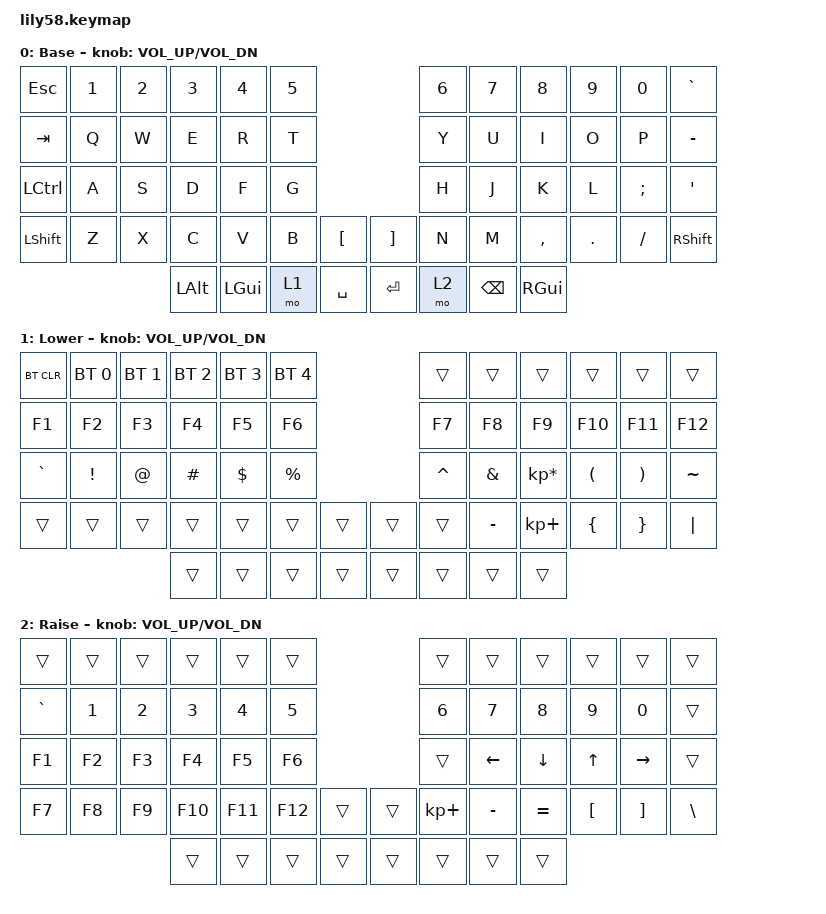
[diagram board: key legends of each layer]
/*
 * Copyright (c) 2020 The ZMK Contributors
 *
 * SPDX-License-Identifier: MIT
 */

#include <behaviors.dtsi>
#include <dt-bindings/zmk/keys.h>
#include <dt-bindings/zmk/bt.h>
#include <dt-bindings/zmk/ext_power.h>

/ {

    chosen {
        zmk,display = &nice_view; 
    };

    // adding the moth
    widget_image_moth: widget_image_moth {
        compatible = "zmk,widget-image";
        width = <128>;
        height = <64>;
        data = [
            f5 f5 f5 ff 04 04 04 ff
            ff ff ff c0 00 00 00 00 00 00 00 00 03 ff ff ff
            ff ff ff c0 00 00 60 00 00 00 00 00 03 ff ff ff
            ff ff ff c0 00 00 60 00 00 00 00 00 03 ff ff ff
            ff ff ff c0 00 00 60 00 00 00 00 00 03 ff ff ff
            ff ff ff c0 00 00 60 00 00 00 00 00 03 ff ff ff
            ff ff ff c0 00 00 70 00 00 00 00 00 03 ff ff ff
            ff ff ff c0 00 00 70 00 00 00 00 00 03 ff ff ff
            ff ff ff c0 00 00 38 00 00 00 00 00 03 ff ff ff
            ff ff ff c0 00 00 38 00 00 00 00 00 03 ff ff ff
            ff ff ff c0 00 00 3c 00 00 00 00 00 03 ff ff ff
            ff ff ff c0 00 00 1e 00 00 00 00 00 03 ff ff ff
            ff ff ff c0 00 00 0f 00 00 00 00 00 03 ff ff ff
            ff ff ff c0 00 00 0f 80 00 00 00 08 03 ff ff ff
            ff ff ff c0 00 00 07 c0 00 00 00 08 03 ff ff ff
            ff ff ff c0 00 00 03 e0 00 00 00 18 03 ff ff ff
            ff ff ff c0 00 00 03 f0 00 00 00 18 03 ff ff ff
            ff ff ff c0 00 00 01 f8 00 00 00 30 03 ff ff ff
            ff ff ff c0 00 00 00 fc 00 a0 00 30 03 ff ff ff
            ff ff ff c0 00 00 00 fe 00 02 00 70 03 ff ff ff
            ff ff ff c0 00 00 00 7f 04 00 08 60 03 ff ff ff
            ff ff ff c0 00 00 00 3f 88 00 01 e0 03 ff ff ff
            ff ff ff c0 00 00 00 1f d0 00 01 c0 03 ff ff ff
            ff ff ff c0 00 00 00 0f e0 00 03 c0 03 ff ff ff
            ff ff ff c0 00 00 00 07 e0 00 0f 88 03 ff ff ff
            ff ff ff c0 00 00 00 03 f0 00 3f 10 03 ff ff ff
            ff ff ff c0 00 00 00 03 f8 00 7e 00 03 ff ff ff
            ff ff ff c0 00 00 00 01 f8 01 f8 00 03 ff ff ff
            ff ff ff c0 00 00 00 00 fc 03 f0 00 03 ff ff ff
            ff ff ff c0 00 00 00 00 3c 03 e0 00 03 ff ff ff
            ff ff ff f4 00 00 00 00 04 07 c0 00 03 ff ff ff
            ff ff ff c2 80 00 00 20 0c 07 80 00 03 ff ff ff
            ff ff ff c0 68 00 00 10 18 07 80 00 03 ff ff ff
            ff ff ff c0 16 00 00 00 18 01 00 00 03 ff ff ff
            ff ff ff c0 01 c0 00 01 f8 03 80 00 03 ff ff ff
            ff ff ff c0 00 1c 01 03 f8 07 c0 00 03 ff ff ff
            ff ff ff c0 00 03 40 07 b0 0f c0 00 03 ff ff ff
            ff ff ff c0 00 00 aa 0f 88 0f c0 00 03 ff ff ff
            ff ff ff c0 00 00 0c 1f c0 1f c0 00 03 ff ff ff
            ff ff ff c0 00 00 00 1f c8 1f e0 00 43 ff ff ff
            ff ff ff c0 00 00 04 2f e4 4f 80 00 03 ff ff ff
            ff ff ff c0 00 00 10 01 f5 0f 80 00 23 ff ff ff
            ff ff ff c0 00 00 00 40 3a 3f 00 00 03 ff ff ff
            ff ff ff c0 00 00 01 00 07 7e 00 00 03 ff ff ff
            ff ff ff c0 00 00 00 00 00 fe 00 00 03 ff ff ff
            ff ff ff c0 00 00 04 00 00 0c 00 00 03 ff ff ff
            ff ff ff c0 00 00 00 00 00 00 00 00 03 ff ff ff
            ff ff ff c0 00 00 b8 00 00 08 02 00 03 ff ff ff
            ff ff ff c0 00 00 a0 00 00 00 02 80 03 ff ff ff
            ff ff ff c0 00 01 60 00 00 00 00 70 03 ff ff ff
            ff ff ff c0 00 06 80 00 00 20 10 0d 43 ff ff ff
            ff ff ff c0 00 0b 00 00 00 62 40 02 c3 ff ff ff
            ff ff ff c0 00 02 00 00 00 04 00 00 3f ff ff ff
            ff ff ff c0 00 10 00 00 00 d0 00 00 03 ff ff ff
            ff ff ff c0 00 00 00 00 01 00 00 00 03 ff ff ff
            ff ff ff c0 00 00 00 00 01 40 00 00 03 ff ff ff
            ff ff ff c0 00 00 00 00 06 80 00 00 03 ff ff ff
            ff ff ff c0 00 00 00 00 03 00 00 00 03 ff ff ff
            ff ff ff c0 00 00 00 00 08 00 00 00 03 ff ff ff
            ff ff ff c0 00 00 00 00 02 00 00 00 03 ff ff ff
            ff ff ff c0 00 00 00 00 00 00 00 00 03 ff ff ff
            ff ff ff c0 00 00 00 00 00 00 00 00 03 ff ff ff
            ff ff ff c0 00 00 00 00 00 00 00 00 03 ff ff ff
            ff ff ff c0 00 00 00 00 00 00 00 00 03 ff ff ff
            ff ff ff c0 00 00 00 00 00 00 00 00 03 ff ff ff
            ff ff ff c0 00 00 00 00 00 00 00 00 03 ff ff ff
            ff ff ff c0 00 00 00 00 00 00 00 00 03 ff ff ff
        ];

    };

    widget_image_sp: widget_image_sp {
        compatible = "zmk,widget-image";
        width = <128>;
        height = <64>;

        data = [
            f7 f7 f7 ff 01 01 01 ff
            ff ff ff ff ff ff ff ff ff ff ff ff ff ff ff ff
            ff ff ff ff ff ff ff ff ff ff ff ff ff ff ff ff
            ff ff ff ff ff ff ff ff ff ff ff ff ff ff ff ff
            ff ff ff ff ff ff ff ff ff ff ff ff ff ff ff ff
            ff ff ff ff ff ff ff ff ff ff ff ff ff ff ff ff
            ff ff ff ff ff ff ff ff ff ff ff ff ff ff ff ff
            ff ff ff ff ff ff ff ff ff ff ff ff ff ff ff ff
            ff ff ff ff ff ff ff ff ff ff ff ff ff ff ff ff
            ff ff ff ff ff ff ff ff ff ff ff ff ff ff ff ff
            ff ff ff ff ff ff ff ff ff ff ff ff ff ff ff ff
            ff ff ff ff ff ff ff ff ff ff ff ff ff ff ff ff
            ff ff ff ff ff ff ff ff ff ff ff ff ff ff ff ff
            ff ff ff ff ff ff ff ff ff ff ff ff ff ff ff ff
            ff ff ff ff ff 9f ff ff ff ff ff ff ff ff ff ff
            ff ff ff ff ff 87 ff ff ff ff ff ff ff ff ff ff
            ff ff ff ff ff 81 ff ff ff ff ff ff ff ff ff ff
            ff ff ff ff ff 80 ff ff ff ff ff ff bf ff ff ff
            ff ff ff ff ff 80 3f ff ff ff ff fe 1f ff ff ff
            ff ff ff ff ff 80 0f ff ff ff ff f0 1f ff ff ff
            ff ff ff ff ff 80 07 ff ff ff ff c0 1f ff ff ff
            ff ff ff ff ff c0 01 ff ff ff fe 00 3f ff ff ff
            ff ff ff ff ff c0 00 ff ff ff f8 00 3f ff ff ff
            ff ff ff ff ff e0 00 7f ff ff e0 00 3f ff ff ff
            ff ff ff ff ff e0 00 3f ff ff 80 00 7f ff ff ff
            ff ff ff ff ff f0 00 1f f5 5e 00 00 7f ff ff ff
            ff ff ff ff ff f0 00 00 00 00 00 00 7f ff ff ff
            ff ff ff ff ff f8 00 00 00 00 00 00 ff ff ff ff
            ff ff ff ff ff fc 00 00 00 00 00 01 ff ff ff ff
            ff ff ff ff ff fe 00 00 00 00 00 01 ff ff ff ff
            ff ff ff ff ff ff 00 00 00 00 00 03 ff ff ff ff
            ff ff ff ff ff ff 80 00 00 00 00 07 ff ff ff ff
            ff ff ff ff ff ff a0 00 00 00 00 1f ff ff ff ff
            ff ff ff ff ff ff e0 00 00 00 01 3f ff ff ff ff
            ff ff ff ff ff ff c0 00 00 00 00 ff ff ff ff ff
            ff ff ff ff ff ff c0 00 00 00 00 7f ff ff ff ff
            ff ff ff ff ff ff 80 40 00 04 00 7f ff ff ff ff
            ff ff ff ff ff ff 80 a0 00 03 00 3f ff ff ff ff
            ff ff ff ff ff ff 01 30 00 09 80 3f ff ff ff ff
            ff ff ff ff ff ff 01 70 00 0b 80 3f ff ff ff ff
            ff ff ff ff ff ff 01 f0 00 0f 00 1f ff ff ff ff
            ff ff ff ff ff fe 00 e0 00 07 00 1f ff ff ff ff
            ff ff ff ff ff fe 00 00 00 00 00 1f ff ff ff ff
            ff ff ff ff ff fe 00 00 60 00 00 0f ff ff ff ff
            ff ff ff ff ff fe 00 00 70 00 00 0f ff ff ff ff
            ff ff ff ff ff fc 70 00 00 00 3c 0f ff ff ff ff
            ff ff ff ff ff fd fc 00 00 00 7f 0f ff ff ff ff
            ff ff ff ff ff fd fc 00 00 00 ff 07 ff ff ff ff
            ff ff ff ff ff fd fc 00 14 00 ff 07 ff ff ff ff
            ff ff ff ff ff fd fc 00 a2 00 7f 07 ff ff ff ff
            ff ff ff ff ff fc 70 00 01 00 7e 07 ff ff ff ff
            ff ff ff ff ff fc 00 01 00 00 18 03 ff ff ff ff
            ff ff ff ff ff fc 00 00 01 00 00 03 ff ff ff ff
            ff ff ff ff ff fe 00 00 80 00 00 03 ff ff ff ff
            ff ff ff ff ff fe 00 00 22 00 00 03 ff ff ff ff
            ff ff ff ff ff ff 00 00 08 00 00 01 ff ff ff ff
            ff ff ff ff ff ff 00 00 00 00 00 03 ff ff ff ff
            ff ff ff ff ff ff 80 00 00 00 00 01 ff ff ff ff
            ff ff ff ff ff ff 80 00 00 00 00 01 ff ff ff ff
            ff ff ff ff ff ff c0 00 00 00 00 01 ff ff ff ff
            ff ff ff ff ff ff c0 00 00 00 00 01 ff ff ff ff
            ff ff ff ff ff ff c0 00 00 00 00 01 ff ff ff ff
            ff ff ff ff ff ff 80 00 00 00 00 00 ff ff ff ff
            ff ff ff ff ff ff 80 00 00 00 00 01 ff ff ff ff
        ];
            };

    // Display Node Configurations 
    &nice_view {
        #if IS_ENABLED(CONFIG_ZMK_SPLIT_ROLE_CENTRAL)
        widgets = <
            &widget_battery_status
            &widget_output_status
            &widget_image_moth
            &widget_layer_status
        >;
        #elif IS_ENABLED(CONFIG_ZMK_SPLIT_ROLE_PERIPHERAL)
        widgets = <
            &widget_battery_status
            &widget_output_status
            &widget_image_sp
        >;
        #endif
    }

    keymap {
        compatible = "zmk,keymap";

        default_layer {
// ------------------------------------------------------------------------------------------------------------
// |  ESC  |  1  |  2  |  3   |  4   |  5   |                   |  6   |  7    |  8    |  9   |   0   |   `   |
// |  TAB  |  Q  |  W  |  E   |  R   |  T   |                   |  Y   |  U    |  I    |  O   |   P   |   -   |
// |  CTRL |  A  |  S  |  D   |  F   |  G   |                   |  H   |  J    |  K    |  L   |   ;   |   '   |
// | SHIFT |  Z  |  X  |  C   |  V   |  B   |   "["  |  |  "]"  |  N   |  M    |  ,    |  .   |   /   | SHIFT |
//                     | ALT  | GUI  | LOWER|  SPACE |  | ENTER | RAISE| BSPC  | GUI   |
            display-name = "Base";
            bindings = <
&kp ESC   &kp N1 &kp N2 &kp N3   &kp N4   &kp N5                     &kp N6 &kp N7   &kp N8    &kp N9  &kp N0   &kp GRAVE
&kp TAB   &kp Q  &kp W  &kp E    &kp R    &kp T                      &kp Y  &kp U    &kp I     &kp O   &kp P    &kp MINUS
&kp LCTRL &kp A  &kp S  &kp D    &kp F    &kp G                      &kp H  &kp J    &kp K     &kp L   &kp SEMI &kp SQT
&kp LSHFT &kp Z  &kp X  &kp C    &kp V    &kp B  &kp LBKT   &kp RBKT &kp N  &kp M    &kp COMMA &kp DOT &kp FSLH &kp RSHFT
                        &kp LALT &kp LGUI &mo 1  &kp SPACE  &kp RET  &mo 2  &kp BSPC &kp RGUI
            >;

            sensor-bindings = <&inc_dec_kp C_VOL_UP C_VOL_DN>;
        };

        lower_layer {
// ------------------------------------------------------------------------------------------------------------
// | BTCLR | BT1 | BT2 |  BT3 |  BT4 |  BT5 |                   |      |       |       |      |       |       |
// |  F1   |  F2 |  F3 |  F4  |  F5  |  F6  |                   |  F7  |  F8   |  F9   |  F10 |  F11  |  F12  |
// |   `   |  !  |  @  |  #   |  $   |  %   |                   |  ^   |  &    |  *    |  (   |   )   |   ~   |
// |       |     |     |      |      |      |        |  |       |      |  _    |  +    |  {   |   }   |  "|"  |
//                     |      |      |      |        |  |       |      |       |       |
            display-name = "Lower";
            bindings = <
&bt BT_CLR &bt BT_SEL 0     &bt BT_SEL 1      &bt BT_SEL 2      &bt BT_SEL 3 &bt BT_SEL 4                 &trans    &trans    &trans          &trans    &trans    &trans
&kp F1     &kp F2           &kp F3            &kp F4            &kp F5       &kp F6                       &kp F7    &kp F8    &kp F9          &kp F10   &kp F11   &kp F12
&kp GRAVE  &kp EXCL         &kp AT            &kp HASH          &kp DOLLAR   &kp PRCNT                    &kp CARET &kp AMPS  &kp KP_MULTIPLY &kp LPAR  &kp RPAR  &kp TILDE
&trans     &trans           &trans            &trans            &trans       &trans    &trans   &trans    &trans    &kp MINUS &kp KP_PLUS     &kp LBRC  &kp RBRC  &kp PIPE
                                              &trans            &trans       &trans    &trans   &trans    &trans    &trans    &trans
            >;

            sensor-bindings = <&inc_dec_kp C_VOL_UP C_VOL_DN>;
        };

        raise_layer {
// ------------------------------------------------------------------------------------------------------------
// |       |     |     |      |      |      |                   |      |       |       |      |       |       |
// |   `   |  1  |  2  |  3   |  4   |  5   |                   |  6   |   7   |   8   |  9   |   0   |       |
// |   F1  |  F2 |  F3 |  F4  |  F5  |  F6  |                   |      |   <-  |   v   |  ^   |  ->   |       |
// |   F7  |  F8 |  F9 |  F10 |  F11 |  F12 |        |  |       |  +   |   -   |   =   |  [   |   ]   |   \   |
//                     |      |      |      |        |  |       |      |       |       |
            display-name = "Raise";
            bindings = <
&trans    &trans &trans &trans  &trans  &trans                       &trans      &trans    &trans    &trans   &trans    &trans
&kp GRAVE &kp N1 &kp N2 &kp N3  &kp N4  &kp N5                       &kp N6      &kp N7    &kp N8    &kp N9   &kp N0    &trans
&kp F1    &kp F2 &kp F3 &kp F4  &kp F5  &kp F6                       &trans      &kp LEFT  &kp DOWN  &kp UP   &kp RIGHT &trans
&kp F7    &kp F8 &kp F9 &kp F10 &kp F11 &kp F12   &trans   &trans    &kp KP_PLUS &kp MINUS &kp EQUAL &kp LBKT &kp RBKT  &kp BSLH
                        &trans  &trans  &trans    &trans   &trans    &trans      &trans    &trans
            >;

            sensor-bindings = <&inc_dec_kp C_VOL_UP C_VOL_DN>;
        };

        extra_1 {
            status = "reserved";
        };

        extra_2 {
            status = "reserved";
        };

        extra_3 {
            status = "reserved";
        };
    };
};
